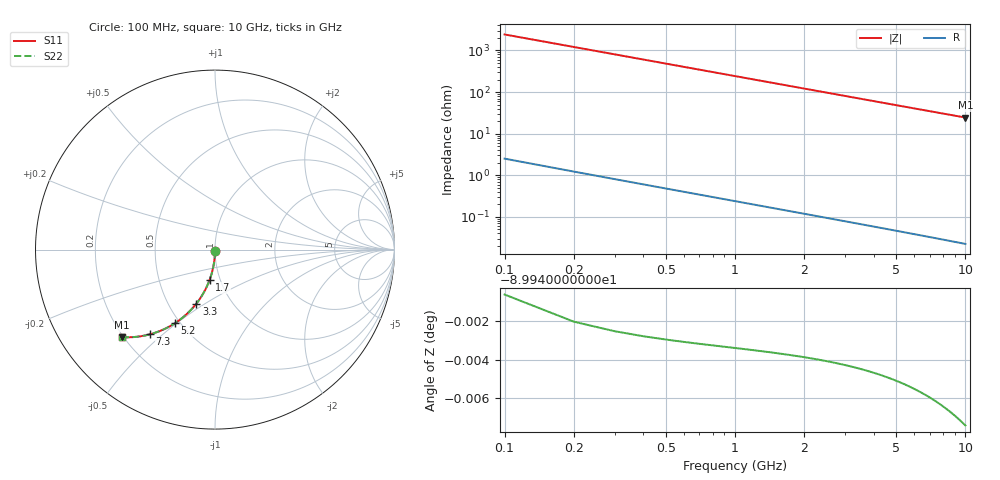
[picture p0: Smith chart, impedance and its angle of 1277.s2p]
# Hz S RI R 50.00
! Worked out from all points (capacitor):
!   100 points, 100 MHz to 10 GHz, reference 50 ohm
!   read as one part in shunt: C = 657 fF near 100 MHz
!   lowest |Z| = 24.4 ohm at 10 GHz (marker M1)
!   S11 on the Smith chart (normalised r, x): 100 MHz: 1.00, -0.02; 1.7 GHz: 0.89, -0.31; 3.3 GHz: 0.69, -0.46; 5.2 GHz: 0.47, -0.49; 7.3 GHz: 0.31, -0.45; 10 GHz: 0.19, -0.38
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1e8  -3.84e-05 -0.0102  0.9998 -0.0104  0.9998 -0.0104  -3.84e-05 -0.0102
2e8  -0.000367 -0.0204  0.9995 -0.0209  0.9995 -0.0209  -0.000367 -0.0204
3e8  -0.000909 -0.0306  0.9989 -0.0313  0.9989 -0.0313  -0.000909 -0.0306
4e8  -0.00166 -0.0407  0.9982 -0.0417  0.9982 -0.0417  -0.00166 -0.0407
5e8  -0.00263 -0.0509  0.9972 -0.052  0.9972 -0.052  -0.00263 -0.0509
6e8  -0.0038 -0.061  0.996 -0.0623  0.996 -0.0623  -0.0038 -0.061
8e8  -0.00677 -0.0811  0.9931 -0.0829  0.9931 -0.0829  -0.00677 -0.0811
1.1e9  -0.0127 -0.1108  0.9871 -0.1133  0.9871 -0.1133  -0.0127 -0.1108
1.4e9  -0.0205 -0.1399  0.9793 -0.143  0.9793 -0.143  -0.0205 -0.1399
1.7e9  -0.0299 -0.1682  0.9699 -0.172  0.9699 -0.172  -0.0299 -0.1682
1.8e9  -0.0334 -0.1775  0.9664 -0.1815  0.9664 -0.1815  -0.0334 -0.1775
2.1e9  -0.045 -0.2045  0.9549 -0.2093  0.9549 -0.2093  -0.045 -0.2045
2.5e9  -0.0625 -0.239  0.9373 -0.2446  0.9373 -0.2446  -0.0625 -0.239
3.3e9  -0.1041 -0.3013  0.8957 -0.3088  0.8957 -0.3088  -0.1041 -0.3013
3.4e9  -0.1098 -0.3084  0.89 -0.3161  0.89 -0.3161  -0.1098 -0.3084
4.2e9  -0.1584 -0.36  0.8414 -0.3695  0.8414 -0.3695  -0.1584 -0.36
5.1e9  -0.2173 -0.4062  0.7825 -0.4177  0.7825 -0.4177  -0.2173 -0.4062
5.2e9  -0.224 -0.4106  0.7758 -0.4224  0.7758 -0.4224  -0.224 -0.4106
6.7e9  -0.3241 -0.46  0.6756 -0.4752  0.6756 -0.4752  -0.3241 -0.46
7.3e9  -0.3628 -0.4721  0.6369 -0.4886  0.6369 -0.4886  -0.3628 -0.4721
8.4e9  -0.4301 -0.485  0.5696 -0.5042  0.5696 -0.5042  -0.4301 -0.485
1e10  -0.5172 -0.4878  0.4824 -0.5106  0.4824 -0.5106  -0.5172 -0.4878
